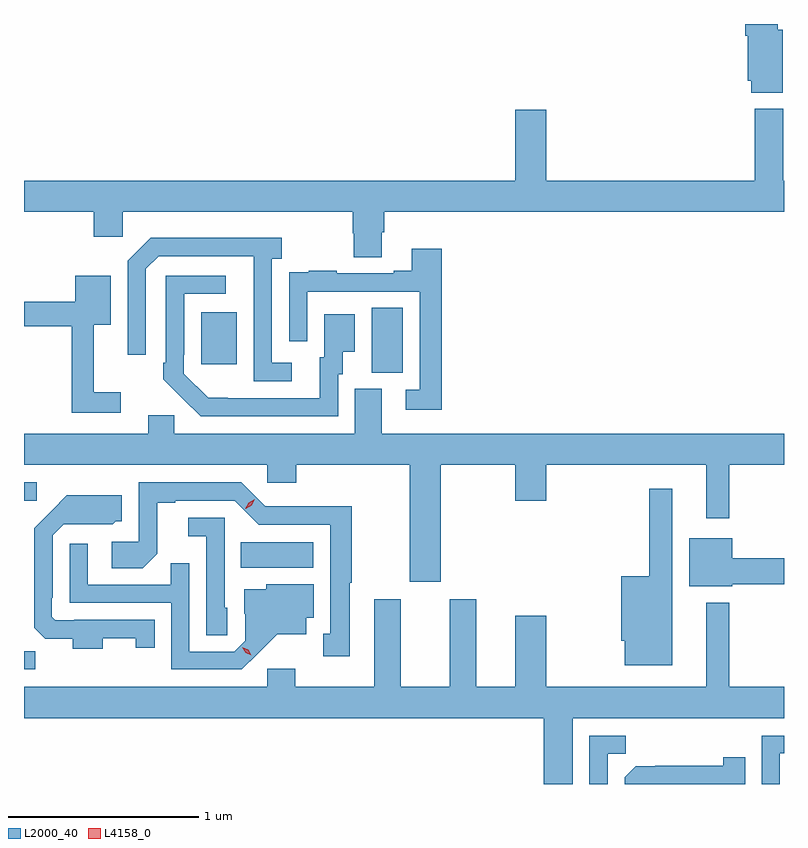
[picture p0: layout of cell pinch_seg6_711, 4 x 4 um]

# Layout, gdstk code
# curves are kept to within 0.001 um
import gdstk
lib = gdstk.Library(unit=1e-6, precision=1e-09)
def R(c, l, rs):  # rectangles x0, y0, x1, y1
    for r in rs: c.add(gdstk.rectangle(r[:2], r[2:], *l))
def P(c, l, *ps):  # polygons
    for p in ps: c.add(gdstk.Polygon(p, *l))
L2000_40 = (2000, 40)
L4158_0 = (4158, 0)

pinch_seg6_711 = lib.new_cell('pinch_seg6_711')
R(pinch_seg6_711, L2000_40, [(593.991,948.924,594.051,949.019), (595.132,949.46,595.513,949.594), (593.991,949.812,594.058,949.908), (595.82,950.485,595.984,950.828), (594.923,950.529,595.111,950.803)])
P(pinch_seg6_711, L2000_40, [(597.985,952.29),(597.958,952.29),(597.958,952.321),(597.788,952.321),(597.788,952.259),(597.8,952.259),(597.8,952.023),(597.818,952.023),(597.818,951.959),(597.985,951.959)],
  [(595.873,951.226),(595.886,951.226),(595.886,951.332),(597.991,951.332),(597.991,951.496),(597.988,951.496),(597.988,951.874),(597.836,951.874),(597.836,951.496),(596.74,951.496),(596.74,951.871),(596.576,951.871),(596.576,951.496),(593.991,951.496),(593.991,951.332),(594.359,951.332),(594.359,951.201),(594.51,951.201),(594.51,951.332),(595.721,951.332),(595.721,951.219),(595.726,951.219),(595.726,951.094),(595.873,951.094)],
  [(595.399,950.538),(595.296,950.538),(595.296,951.086),(595.348,951.086),(595.348,951.196),(594.658,951.196),(594.537,951.075),(594.537,950.58),(594.633,950.58),(594.633,951.033),(594.699,951.099),(595.199,951.099),(595.2,950.442),(595.399,950.442)],
  [(596.189,951.139),(596.033,951.139),(596.033,951.022),(595.937,951.022),(595.937,951.009),(595.637,951.009),(595.637,951.022),(595.489,951.022),(595.489,951.015),(595.387,951.015),(595.387,950.906),(595.386,950.906),(595.386,950.652),(595.482,950.652),(595.482,950.913),(596.073,950.913),(596.073,950.397),(596.001,950.397),(596.001,950.292),(596.189,950.292)],
  [(595.644,950.478),(595.669,950.478),(595.669,950.597),(595.732,950.597),(595.732,950.794),(595.571,950.794),(595.571,950.568),(595.547,950.568),(595.547,950.352),(594.96,950.353),(594.831,950.481),(594.831,950.581),(594.834,950.581),(594.834,950.901),(595.054,950.901),(595.054,950.997),(594.738,950.997),(594.738,950.539),(594.723,950.539),(594.723,950.451),(594.92,950.256),(595.644,950.256)],
  [(594.499,950.383),(594.359,950.383),(594.359,950.738),(594.448,950.738),(594.448,950.995),(594.26,950.995),(594.26,950.86),(593.991,950.86),(593.991,950.731),(594.241,950.731),(594.241,950.274),(594.499,950.274)],
  [(596.185,950),(596.576,950),(596.576,949.812),(596.74,949.812),(596.74,950),(597.581,950),(597.581,949.719),(597.703,949.719),(597.703,950),(597.991,950),(597.991,950.164),(595.873,950.164),(595.873,950.4),(595.733,950.4),(595.733,950.164),(594.783,950.164),(594.783,950.262),(594.644,950.262),(594.644,950.164),(593.991,950.164),(593.991,950),(595.272,950),(595.272,949.907),(595.424,949.907),(595.424,950),(596.021,950),(596.021,949.386),(596.185,949.386)],
  [(595.705,949.381),(595.715,949.381),(595.715,949.784),(595.482,949.784),(595.482,949.782),(595.26,949.782),(595.134,949.908),(594.594,949.908),(594.594,949.596),(594.453,949.596),(594.453,949.456),(594.617,949.456),(594.693,949.532),(594.693,949.8),(594.787,949.8),(594.787,949.812),(595.101,949.812),(595.227,949.686),(595.604,949.686),(595.604,949.113),(595.565,949.113),(595.565,948.993),(595.705,948.993)],
  [(597.403,949.876),(597.282,949.876),(597.282,949.414),(597.134,949.414),(597.134,949.074),(597.152,949.074),(597.152,948.947),(597.403,948.947)],
  [(594.406,949.087),(594.579,949.087),(594.579,949.038),(594.68,949.038),(594.68,949.185),(594.256,949.185),(594.256,949.182),(594.156,949.182),(594.138,949.2),(594.138,949.3),(594.141,949.3),(594.141,949.629),(594.201,949.689),(594.458,949.688),(594.474,949.704),(594.505,949.704),(594.505,949.84),(594.217,949.84),(594.045,949.666),(594.045,949.144),(594.104,949.085),(594.248,949.085),(594.248,949.034),(594.406,949.034)],
  [(595.062,949.248),(595.047,949.248),(595.047,949.722),(594.855,949.722),(594.855,949.625),(594.951,949.625),(594.951,949.105),(595.062,949.105)],
  [(597.718,949.372),(597.991,949.372),(597.991,949.508),(597.718,949.508),(597.718,949.615),(597.491,949.615),(597.491,949.361),(597.718,949.361)],
  [(595.222,949.007),(595.325,949.109),(595.477,949.109),(595.477,949.196),(595.516,949.196),(595.516,949.372),(595.266,949.372),(595.266,949.345),(595.151,949.345),(595.151,949.216),(595.155,949.216),(595.155,949.074),(595.098,949.017),(594.861,949.017),(594.861,949.484),(594.763,949.484),(594.763,949.371),(594.327,949.371),(594.327,949.585),(594.231,949.585),(594.231,949.275),(594.765,949.275),(594.765,948.924),(595.138,948.924)],
  [(595.272,948.928),(595.272,948.832),(593.991,948.832),(593.991,948.668),(596.726,948.668),(596.726,948.321),(596.878,948.321),(596.878,948.668),(597.991,948.668),(597.991,948.832),(597.703,948.832),(597.703,949.276),(597.581,949.276),(597.581,948.832),(596.74,948.832),(596.74,949.207),(596.576,949.207),(596.576,948.832),(596.371,948.832),(596.371,949.294),(596.231,949.294),(596.231,948.832),(595.975,948.832),(595.975,949.294),(595.835,949.294),(595.835,948.832),(595.419,948.832),(595.419,948.928)],
  [(597.969,948.483),(597.991,948.483),(597.991,948.576),(597.873,948.576),(597.873,948.321),(597.969,948.321)],
  [(597.063,948.481),(597.159,948.481),(597.159,948.576),(596.967,948.576),(596.967,948.321),(597.063,948.321)],
  [(597.788,948.463),(597.67,948.463),(597.67,948.416),(597.313,948.416),(597.313,948.415),(597.212,948.415),(597.153,948.356),(597.153,948.321),(597.788,948.321)])
P(pinch_seg6_711, L4158_0, [(595.156,949.77),(595.156,949.77),(595.174,949.802),(595.206,949.821),(595.206,949.821),(595.206,949.821),(595.189,949.789),(595.157,949.77)],
  [(595.188,948.998),(595.157,949.012),(595.139,949.041),(595.139,949.041),(595.139,949.041),(595.17,949.027),(595.188,948.998),(595.188,948.998)])

lib.write_gds('pinch_seg6_711.gds')
